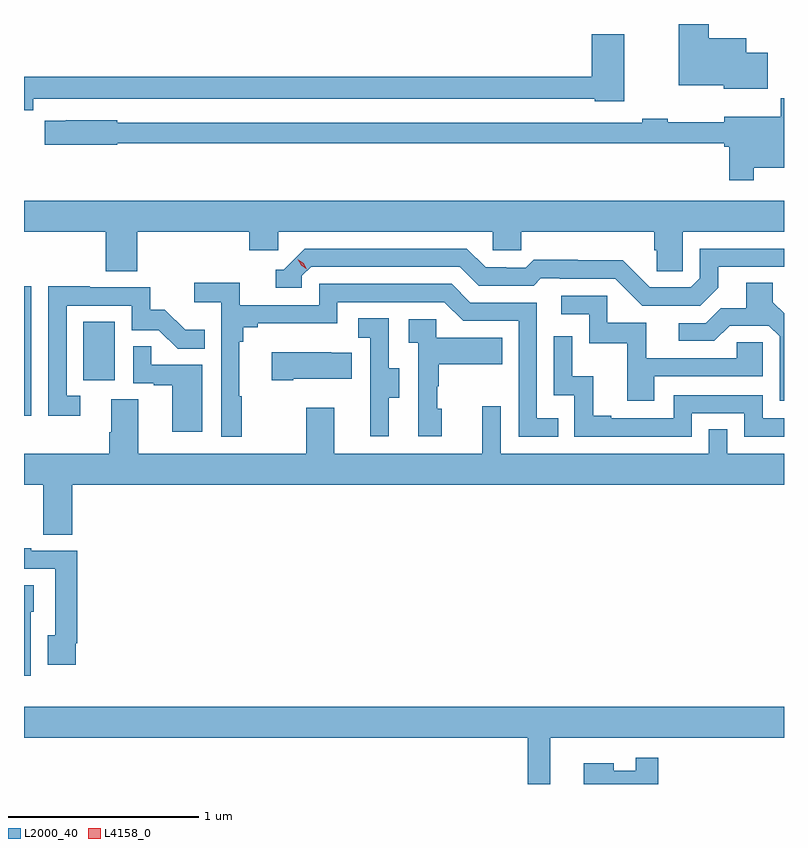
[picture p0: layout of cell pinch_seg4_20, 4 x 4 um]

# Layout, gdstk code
import gdstk
lib = gdstk.Library(unit=1e-6, precision=1e-09)
def R(c, l, rs):  # rectangles x0, y0, x1, y1
    for r in rs: c.add(gdstk.rectangle(r[:2], r[2:], *l))
def P(c, l, *ps):  # polygons
    for p in ps: c.add(gdstk.Polygon(p, *l))
L2000_40 = (2000, 40)
L4158_0 = (4158, 0)

pinch_seg4_20 = lib.new_cell('pinch_seg4_20')
R(pinch_seg4_20, L2000_40, [(1103.845,819.828,1103.883,820.508), (1104.158,820.014,1104.322,820.321)])
P(pinch_seg4_20, L2000_40, [(1107.76,821.737),(1107.646,821.737),(1107.646,821.815),(1107.448,821.815),(1107.448,821.889),(1107.29,821.889),(1107.29,821.567),(1107.528,821.567),(1107.528,821.549),(1107.76,821.549)],
  [(1103.894,821.496),(1106.85,821.496),(1106.85,821.483),(1107.004,821.483),(1107.004,821.836),(1106.834,821.836),(1106.834,821.612),(1103.845,821.612),(1103.845,821.436),(1103.894,821.436)],
  [(1107.685,821.132),(1107.845,821.132),(1107.845,821.497),(1107.829,821.497),(1107.829,821.401),(1107.53,821.401),(1107.53,821.372),(1107.234,821.372),(1107.234,821.39),(1107.1,821.39),(1107.1,821.37),(1104.336,821.37),(1104.336,821.383),(1104.064,821.383),(1104.064,821.381),(1103.953,821.381),(1103.953,821.254),(1104.336,821.254),(1104.336,821.262),(1107.53,821.262),(1107.53,821.243),(1107.556,821.243),(1107.556,821.067),(1107.685,821.067)],
  [(1104.44,820.796),(1105.031,820.796),(1105.031,820.698),(1105.182,820.698),(1105.182,820.796),(1106.313,820.796),(1106.313,820.698),(1106.463,820.698),(1106.463,820.796),(1107.161,820.796),(1107.161,820.698),(1107.175,820.698),(1107.175,820.588),(1107.312,820.588),(1107.312,820.796),(1107.845,820.796),(1107.845,820.96),(1103.845,820.96),(1103.845,820.796),(1104.275,820.796),(1104.275,820.588),(1104.44,820.588)],
  [(1107.499,820.501),(1107.499,820.611),(1107.845,820.611),(1107.845,820.707),(1107.402,820.707),(1107.402,820.551),(1107.354,820.503),(1107.138,820.503),(1106.996,820.645),(1106.76,820.645),(1106.76,820.648),(1106.527,820.648),(1106.485,820.605),(1106.382,820.605),(1106.382,820.608),(1106.275,820.608),(1106.176,820.707),(1105.323,820.707),(1105.212,820.596),(1105.169,820.596),(1105.169,820.5),(1105.308,820.5),(1105.308,820.563),(1105.356,820.611),(1106.139,820.611),(1106.238,820.512),(1106.527,820.512),(1106.566,820.551),(1106.665,820.551),(1106.665,820.548),(1106.958,820.548),(1107.099,820.407),(1107.405,820.407)],
  [(1104.991,819.929),(1104.979,819.929),(1104.979,820.217),(1104.998,820.217),(1104.998,820.294),(1105.075,820.294),(1105.075,820.313),(1105.494,820.313),(1105.494,820.425),(1106.058,820.425),(1106.157,820.326),(1106.448,820.326),(1106.448,819.717),(1106.657,819.717),(1106.657,819.813),(1106.544,819.813),(1106.544,820.422),(1106.194,820.422),(1106.095,820.521),(1105.398,820.521),(1105.398,820.41),(1104.98,820.41),(1104.98,820.526),(1104.741,820.526),(1104.741,820.424),(1104.882,820.424),(1104.882,819.717),(1104.991,819.717)],
  [(1107.845,820.366),(1107.787,820.424),(1107.787,820.526),(1107.647,820.526),(1107.647,820.394),(1107.512,820.394),(1107.432,820.314),(1107.291,820.314),(1107.291,820.221),(1107.478,820.221),(1107.559,820.302),(1107.765,820.302),(1107.822,820.245),(1107.822,819.906),(1107.845,819.906)],
  [(1104.142,819.933),(1104.069,819.933),(1104.069,820.407),(1104.411,820.407),(1104.411,820.278),(1104.555,820.278),(1104.653,820.18),(1104.797,820.18),(1104.797,820.279),(1104.693,820.279),(1104.586,820.386),(1104.51,820.386),(1104.51,820.503),(1104.191,820.503),(1104.191,820.508),(1103.973,820.508),(1103.973,819.828),(1104.142,819.828)],
  [(1107.163,820.035),(1107.732,820.035),(1107.732,820.215),(1107.595,820.215),(1107.595,820.131),(1107.121,820.131),(1107.121,820.317),(1106.916,820.317),(1106.916,820.458),(1106.673,820.458),(1106.673,820.362),(1106.82,820.362),(1106.82,820.209),(1107.019,820.209),(1107.019,819.906),(1107.163,819.906)],
  [(1105.765,819.922),(1105.819,819.922),(1105.819,820.077),(1105.764,820.077),(1105.764,820.34),(1105.605,820.34),(1105.605,820.237),(1105.668,820.237),(1105.668,819.933),(1105.667,819.933),(1105.667,819.72),(1105.765,819.72)],
  [(1106.044,819.864),(1106.019,819.864),(1106.019,819.983),(1106.029,819.983),(1106.029,820.097),(1106.363,820.097),(1106.363,820.237),(1106.016,820.237),(1106.016,820.335),(1105.869,820.335),(1105.869,820.211),(1105.92,820.211),(1105.92,819.72),(1106.044,819.72)],
  [(1107.36,819.84),(1107.636,819.84),(1107.636,819.717),(1107.845,819.717),(1107.845,819.813),(1107.732,819.813),(1107.732,819.936),(1107.264,819.936),(1107.264,819.813),(1106.935,819.813),(1106.935,819.826),(1106.84,819.826),(1106.84,820.034),(1106.73,820.034),(1106.73,820.246),(1106.634,820.246),(1106.634,819.936),(1106.742,819.936),(1106.742,819.717),(1107.36,819.717)],
  [(1104.784,820.095),(1104.515,820.095),(1104.515,820.193),(1104.42,820.193),(1104.42,819.999),(1104.527,819.999),(1104.527,819.987),(1104.626,819.987),(1104.626,819.744),(1104.784,819.744)],
  [(1105.261,820.022),(1105.571,820.022),(1105.571,820.159),(1105.463,820.159),(1105.463,820.162),(1105.149,820.162),(1105.149,820.015),(1105.261,820.015)],
  [(1104.098,819.464),(1107.845,819.464),(1107.845,819.628),(1107.546,819.628),(1107.546,819.755),(1107.45,819.755),(1107.45,819.628),(1106.355,819.628),(1106.355,819.877),(1106.258,819.877),(1106.258,819.628),(1105.477,819.628),(1105.477,819.868),(1105.33,819.868),(1105.33,819.628),(1104.445,819.628),(1104.445,819.914),(1104.305,819.914),(1104.305,819.74),(1104.293,819.74),(1104.293,819.628),(1103.845,819.628),(1103.845,819.464),(1103.945,819.464),(1103.945,819.202),(1104.098,819.202)],
  [(1104.118,818.629),(1104.125,818.629),(1104.125,819.117),(1103.884,819.117),(1103.884,819.13),(1103.845,819.13),(1103.845,819.021),(1104.009,819.021),(1104.009,818.673),(1103.969,818.673),(1103.969,818.517),(1104.118,818.517)],
  [(1103.881,818.796),(1103.896,818.796),(1103.896,818.936),(1103.845,818.936),(1103.845,818.46),(1103.881,818.46)],
  [(1106.614,818.132),(1107.845,818.132),(1107.845,818.296),(1103.845,818.296),(1103.845,818.132),(1106.497,818.132),(1106.497,817.889),(1106.614,817.889)],
  [(1107.182,818.026),(1107.066,818.026),(1107.066,817.96),(1106.95,817.96),(1106.95,817.999),(1106.792,817.999),(1106.792,817.889),(1107.182,817.889)])
P(pinch_seg4_20, L4158_0, [(1105.333,820.598),(1105.303,820.618),(1105.287,820.651),(1105.287,820.651),(1105.287,820.651),(1105.318,820.631),(1105.334,820.599),(1105.334,820.598)])

lib.write_gds('pinch_seg4_20.gds')
